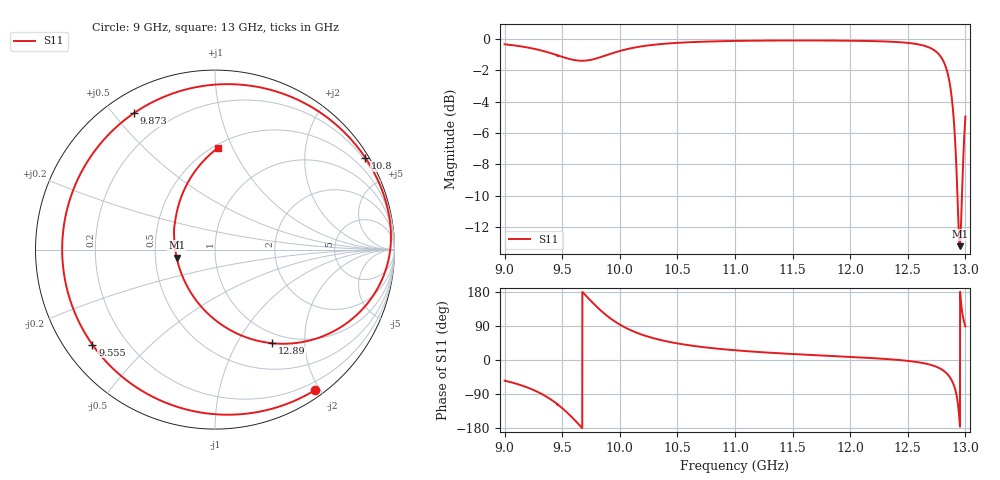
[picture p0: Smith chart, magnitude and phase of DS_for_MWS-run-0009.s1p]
! TOUCHSTONE file generated by CST DESIGN STUDIO
! Date and time: Tue Feb  4 13:24:56 2025
! Project name: C:\Work\MatlabApps\UnitCellOptimizationMatlab\CST\unitcell.cst
! Tree item: Tasks\Sweep1\SPara1\S-Parameters
! Header version: 2024
! Port assignment regex: !\s*Touchstone port\s*([0-9]+)\s*=\s*(CST MWS port|CST DES external port|CST DES block port)\s*(.+)\s* \(\"(.*)\"\)(\s*mode\s*([0-9]+))?.*
! Touchstone port assignment:
! Touchstone port 1 = CST DES external port 1 ("")
# GHz S MA R 50
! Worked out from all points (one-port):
!   4001 points, 9 GHz to 13 GHz, reference 50 ohm
!   lowest |S11| = -13.2 dB at 12.95 GHz (marker M1), VSWR 1.56, Z = 32.3 - j3.01 ohm
!   |S11| at or under -10 dB: 12.93097 GHz to 12.97025 GHz (39.27 MHz wide, 0.303 % of centre)
!   S11 on the Smith chart (normalised r, x): 9 GHz: 0.09, -1.94; 9.555 GHz: 0.08, -0.34; 9.873 GHz: 0.08, +0.57; 10.8 GHz: 0.13, +3.56; 12.89 GHz: 0.85, -1.42; 13 GHz: 0.53, +0.88
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9  0.9612 -54.5
9.168  0.9431 -69.2
9.32  0.9181 -89.3
9.416  0.8969 -107.1
9.5  0.8765 -127.0
9.555  0.8643 -142.2
9.633  0.8531 -166.4
9.704  0.8526 170.4
9.793  0.8655 142.5
9.873  0.8845 120.6
10  0.915 93.5
10.108  0.9352 76.9
10.221  0.9504 64.0
10.5  0.9714 43.8
10.8  0.9815 31.4
11  0.9851 25.7
11.5  0.9885 15.8
12  0.9867 8.1
12.5  0.9711 -2.3
12.672  0.9432 -10.7
12.772  0.8911 -21.2
12.838  0.7959 -35.4
12.889  0.6119 -58.5
12.92  0.4033 -87.9
12.938  0.2656 -123.1
12.951  0.2181 -168.3
12.981  0.4099 110.9
13  0.5655 88.5
